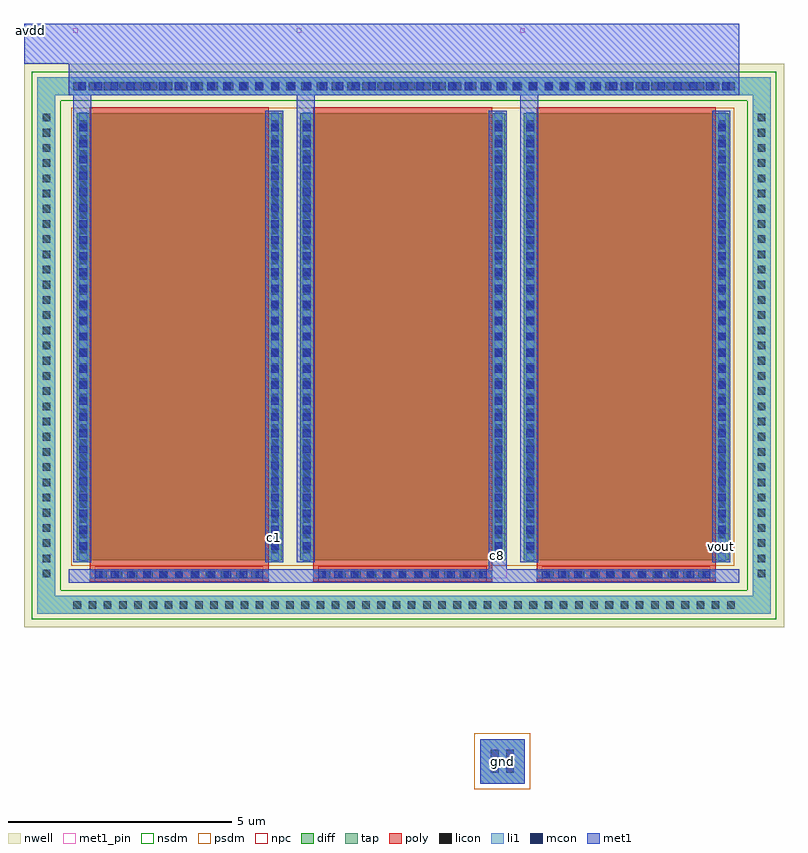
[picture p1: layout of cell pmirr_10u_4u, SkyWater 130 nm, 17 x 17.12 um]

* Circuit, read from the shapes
.subckt pmirr_10u_4u avdd c1 c8 gnd vout
XM1 c1 c8 avdd avdd sky130_fd_pr__pfet_01v8 w=10 l=4
XM2 c8 c8 avdd avdd sky130_fd_pr__pfet_01v8 w=10 l=4
XM3 vout c8 avdd avdd sky130_fd_pr__pfet_01v8 w=10 l=4
.ends

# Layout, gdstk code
import gdstk
lib = gdstk.Library(unit=1e-6, precision=1e-09)
def R(c, l, rs):  # rectangles x0, y0, x1, y1
    for r in rs: c.add(gdstk.rectangle(r[:2], r[2:], *l))
def A(c, l, x, y, w, h, nx, ny, dx, dy):  # array of equal rectangles
    R(c, l, [(x+i*dx, y+j*dy, x+i*dx+w, y+j*dy+h) for i in range(nx) for j in range(ny)])
nwell = (64, 20)
diff = (65, 20)
tap = (65, 44)
poly = (66, 20)
licon = (66, 44)
li1 = (67, 20)
mcon = (67, 44)
met1_pin = (68, 16)
met1 = (68, 20)
nsdm = (93, 44)
psdm = (94, 20)
npc = (95, 20)

sky130_fd_pr__pfet_01v8_ = lib.new_cell('sky130_fd_pr__pfet_01v8_QRZKJX')
R(sky130_fd_pr__pfet_01v8_, nwell, [(-2.47,-5.49,2.47,5.32)])
R(sky130_fd_pr__pfet_01v8_, diff, [(-2.29,-5.18,2.29,4.82)])
R(sky130_fd_pr__pfet_01v8_, poly, [(-2,-5.31,2,5.305)])
A(sky130_fd_pr__pfet_01v8_, licon, -2.23, -5.025, 0.17, 0.17, 1, 29, 0, 0.34)
A(sky130_fd_pr__pfet_01v8_, licon, 2.06, -5.025, 0.17, 0.17, 1, 29, 0, 0.34)
A(sky130_fd_pr__pfet_01v8_, licon, -1.785, 5.055, 0.17, 0.17, 11, 1, 0.34, 0)
R(sky130_fd_pr__pfet_01v8_, li1, [(-2.23,-5.2,-2.06,4.84), (2.06,-5.2,2.23,4.84), (-2,5.055,2,5.225)])
A(sky130_fd_pr__pfet_01v8_, mcon, -2.23, -4.945, 0.17, 0.17, 1, 27, 0, 0.36)
A(sky130_fd_pr__pfet_01v8_, mcon, 2.06, -4.945, 0.17, 0.17, 1, 27, 0, 0.36)
A(sky130_fd_pr__pfet_01v8_, mcon, -1.885, 5.055, 0.17, 0.17, 11, 1, 0.36, 0)
R(sky130_fd_pr__pfet_01v8_, met1, [(-2.26,-5.18,-2.03,4.82), (2.03,-5.18,2.26,4.82), (-1.98,5.025,1.98,5.255)])
R(sky130_fd_pr__pfet_01v8_, psdm, [(-2.415,-5.305,2.415,4.945)])
R(sky130_fd_pr__pfet_01v8_, npc, [(-1.885,4.955,1.885,5.325)])

pmirr_unit_10u_4u = lib.new_cell('pmirr_unit_10u_4u')
R(pmirr_unit_10u_4u, nwell, [(-11.1,4.5,-11,15.3)])
R(pmirr_unit_10u_4u, met1_pin, [(-15.9,16.8,-15.8,16.9)])
R(pmirr_unit_10u_4u, met1, [(-16,4.5,-11,4.8), (-15.9,4.95,-15.5,15.5), (-11.6,4.95,-11.2,15.05), (-16,15.5,-11,17)])
pmirr_unit_10u_4u.add(gdstk.Reference(sky130_fd_pr__pfet_01v8_, (-13.53,9.82), x_reflection=True))
pmirr_unit_10u_4u.add(gdstk.Label('gmirr', (-16,4.65), layer=68, texttype=5))
pmirr_unit_10u_4u.add(gdstk.Label('imirr', (-11.2,5), layer=68, texttype=5))
pmirr_unit_10u_4u.add(gdstk.Label('avdd', (-15.85,16.85), layer=68, texttype=5))

pmirr_10u_4u = lib.new_cell('pmirr_10u_4u')
R(pmirr_10u_4u, nwell, [(-1,-1,16,11.6)])
R(pmirr_10u_4u, tap, [(9.2,-4.5,10.2,-3.5), (-0.7,-0.7,15.7,-0.3), (-0.7,-0.3,-0.3,10.9), (15.3,-0.3,15.7,10.9), (-0.7,10.9,15.7,11.3)])
A(pmirr_10u_4u, licon, 0.105, -0.585, 0.17, 0.17, 44, 2, 0.34, 11.6)
A(pmirr_10u_4u, licon, -0.585, 0.115, 0.17, 0.17, 1, 31, 0, 0.34)
A(pmirr_10u_4u, licon, 15.415, 0.115, 0.17, 0.17, 1, 31, 0, 0.34)
R(pmirr_10u_4u, licon, [(9.445,-4.255,9.615,-4.085), (9.785,-4.255,9.955,-4.085), (9.445,-3.915,9.615,-3.745), (9.785,-3.915,9.955,-3.745)])
R(pmirr_10u_4u, li1, [(9.2,-4.5,10.2,-3.5), (-0.7,-0.7,15.7,-0.3), (-0.7,-0.3,-0.3,10.9), (15.3,-0.3,15.7,10.9), (-0.7,10.9,15.7,11.3)])
A(pmirr_10u_4u, mcon, 0.215, 11.015, 0.17, 0.17, 41, 1, 0.36, 0)
R(pmirr_10u_4u, met1_pin, [(9.2,-4.5,10.2,-3.5), (9.4,0.1,9.8,1.1), (4.4,0.5,4.8,1.5), (14.4,0.5,14.8,1.1), (-0.9,12.3,-0.8,12.4)])
R(pmirr_10u_4u, met1, [(9.2,-4.5,10.2,-3.5), (9.4,0.1,9.8,1.1), (4.4,0.5,4.8,1.5), (14.4,0.5,14.8,1.1), (0,10.9,15,11.1), (0,11.1,14.9,11.2), (-1,11.6,0,12.5)])
R(pmirr_10u_4u, nsdm, [(-0.825,-0.825,15.825,-0.175), (-0.825,-0.175,-0.175,10.775), (15.175,-0.175,15.825,10.775), (-0.825,10.775,15.825,11.425)])
R(pmirr_10u_4u, psdm, [(9.075,-4.625,10.325,-3.375), (4.885,0.375,5.055,10.625), (9.885,0.375,10.055,10.625)])
pmirr_10u_4u.add(gdstk.Reference(pmirr_unit_10u_4u, (26,-4.5)))
pmirr_10u_4u.add(gdstk.Reference(pmirr_unit_10u_4u, (21,-4.5)))
pmirr_10u_4u.add(gdstk.Reference(pmirr_unit_10u_4u, (16,-4.5)))
pmirr_10u_4u.add(gdstk.Label('vout', (14.6,0.8), layer=68, texttype=5))
pmirr_10u_4u.add(gdstk.Label('c1', (4.6,1), layer=68, texttype=5))
pmirr_10u_4u.add(gdstk.Label('c8', (9.6,0.6), layer=68, texttype=5))
pmirr_10u_4u.add(gdstk.Label('gnd', (9.7,-4), layer=68, texttype=5))
pmirr_10u_4u.add(gdstk.Label('avdd', (-0.85,12.35), layer=68, texttype=5))

lib.write_gds('pmirr_10u_4u.gds')
